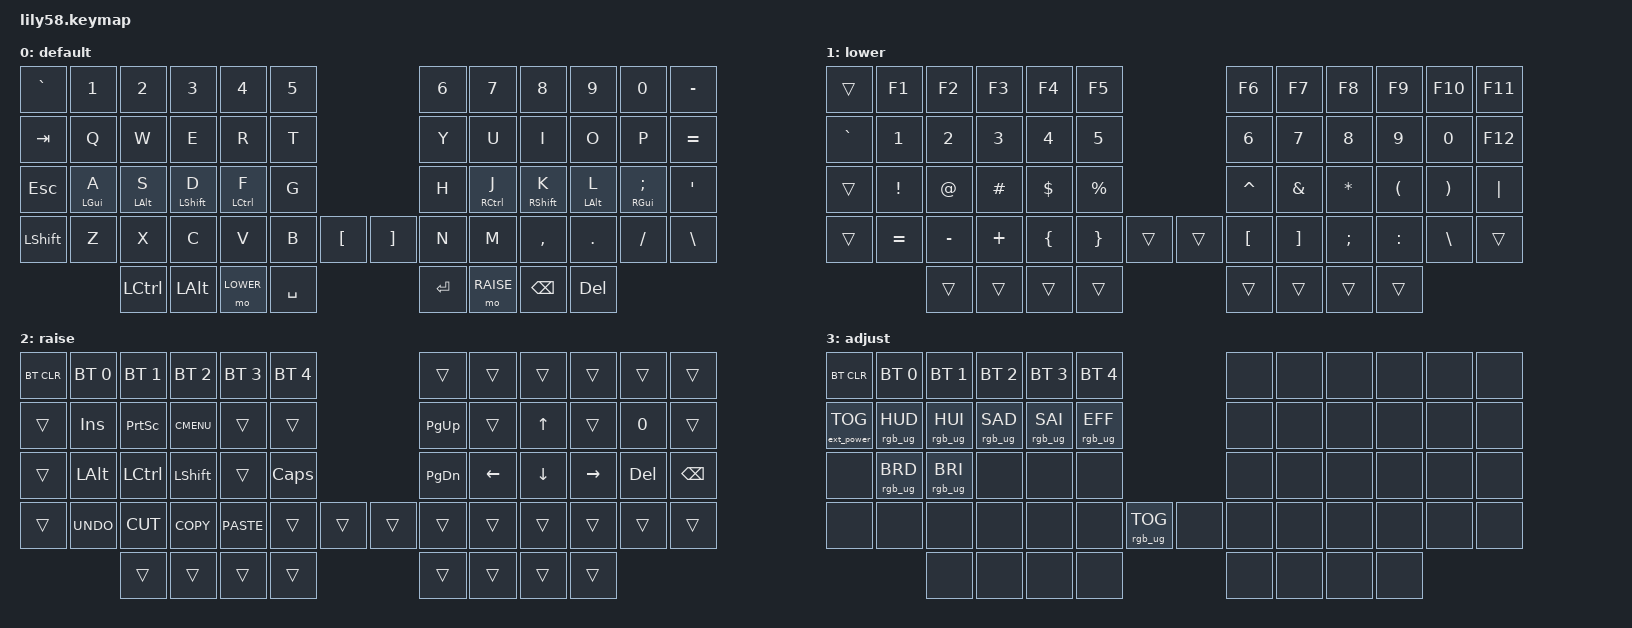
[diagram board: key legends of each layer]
/*
 * Copyright (c) 2020 The ZMK Contributors
 *
 * SPDX-License-Identifier: MIT
 */

#include <behaviors.dtsi>
#include <dt-bindings/zmk/keys.h>
#include <dt-bindings/zmk/bt.h>
#include <dt-bindings/zmk/ext_power.h>
#include <dt-bindings/zmk/rgb.h>

#define BASE 0
#define LOWER 1
#define RAISE 2
#define ADJUST 3

/ {
    // Activate ADJUST layer by pressing raise and lower
    conditional_layers {
        compatible = "zmk,conditional-layers";
        adjust_layer {
            if-layers = <LOWER RAISE>;
            then-layer = <ADJUST>;
        };
    };

    behaviors {
        hml: hml {
            compatible = "zmk,behavior-hold-tap";
            label = "HML";
            bindings = <&kp>, <&kp>;

            #binding-cells = <2>;
            tapping-term-ms = <150>;
            quick-tap-ms = <150>;
            require-prior-idle-ms = <50>;
            flavor = "balanced";
            hold-trigger-on-release;
            // Sofle uses specific key positions, omitting for Lily58 to accept all right-hand keys implicitly via balanced/typing habits or default
            // hold-trigger-key-positions = <28 27 26 25>; 
        };

        hmr: hmr {
            compatible = "zmk,behavior-hold-tap";
            label = "HMR";
            bindings = <&kp>, <&kp>;

            #binding-cells = <2>;
            tapping-term-ms = <150>;
            quick-tap-ms = <150>;
            require-prior-idle-ms = <50>;
            flavor = "balanced";
            hold-trigger-on-release;
            // hold-trigger-key-positions = <31 32 33 34>;
        };
    };

    keymap {
        compatible = "zmk,keymap";

        default_layer {
            display-name = "default";
// ------------------------------------------------------------------------------------------------------------
// |  GRAVE |  1  |  2  |  3   |  4   |  5   |                   |  6   |  7    |  8    |  9   |   0   |   -   |
// |  TAB   |  Q  |  W  |  E   |  R   |  T   |                   |  Y   |  U    |  I    |  O   |   P   |   =   |
// |  ESC   |  A  |  S  |  D   |  F   |  G   |                   |  H   |  J    |  K    |  L   |   ;   |   '   |
// | SHIFT  |  Z  |  X  |  C   |  V   |  B   |   [   |  |  ]     |  N   |  M    |  ,    |  .   |   /   |   \   |
//                     | CTRL | ALT  | LOWER|  SPACE |  | ENTER | RAISE| BSPC  | DEL   |
            bindings = <
&kp GRAVE   &kp N1           &kp N2           &kp N3             &kp N4         &kp N5                             &kp N6     &kp N7         &kp N8        &kp N9           &kp N0                    &kp MINUS
&kp TAB     &kp Q            &kp W            &kp E              &kp R          &kp T                              &kp Y      &kp U          &kp I         &kp O            &kp P                     &kp EQUAL
&kp ESC     &hml LGUI A      &hml LALT S      &hml LSHFT D       &hml LCTRL F   &kp G                              &kp H      &hmr RCTRL J   &hmr RSHFT K  &hmr LALT L      &hmr RGUI SEMI            &kp SQT
&kp LSHFT   &kp Z            &kp X            &kp C              &kp V          &kp B      &kp LBKT      &kp RBKT  &kp N      &kp M          &kp COMMA     &kp DOT          &kp FSLH                  &kp BSLH
                             &kp LCTRL        &kp LALT           &mo LOWER      &kp SPACE                          &kp RET    &mo RAISE      &kp BSPC      &kp DEL
            >;
        };

        lower_layer {
            display-name = "lower";
// ------------------------------------------------------------------------------------------------------------
// |       |  F1 |  F2 |  F3  |  F4  |  F5  |                   |  F6  |  F7   |  F8   |  F9  |  F10  |  F11  |
// |   `   |  1  |  2  |  3   |  4   |  5   |                   |  6   |  7    |  8    |  9   |   0   |  F12  |
// |       |  !  |  @  |  #   |  $   |  %   |                   |  ^   |  &    |  *    |  (   |   )   |   |   |
// |       |  =  |  -  |  +   |  {   |  }   |        |  |       |  [   |  ]    |  ;    |  :   |   \   |       |
//                     |      |      |      |        |  |       |      |       |       |
            bindings = <
&trans     &kp F1     &kp F2     &kp F3    &kp F4    &kp F5                        &kp F6    &kp F7    &kp F8     &kp F9     &kp F10   &kp F11
&kp GRAVE  &kp N1     &kp N2     &kp N3    &kp N4    &kp N5                        &kp N6    &kp N7    &kp N8     &kp N9     &kp N0    &kp F12
&trans     &kp EXCL   &kp AT     &kp HASH  &kp DLLR  &kp PRCNT                     &kp CARET &kp AMPS  &kp ASTRK  &kp LPAR   &kp RPAR  &kp PIPE
&trans     &kp EQUAL  &kp MINUS  &kp PLUS  &kp LBRC  &kp RBRC   &trans    &trans   &kp LBKT  &kp RBKT  &kp SEMI   &kp COLON  &kp BSLH  &trans
                      &trans     &trans    &trans    &trans                        &trans    &trans    &trans     &trans
            >;
        };

        raise_layer {
            display-name = "raise";
// ------------------------------------------------------------------------------------------------------------
// | BTCLR | BT1  | BT2  |  BT3  |  BT4  |  BT5 |                |      |      |       |      |       |       |
// |       | INS  | PSCR | GUI   |       |      |                | PGUP |      |   ^   |      |       |       |
// |       | ALT  | CTRL | SHIFT |       | CAPS |                | PGDN |   <- |   v   |  ->  |  DEL  | BKSPC |
// |       | UNDO | CUT  | COPY  | PASTE |      |      |  |      |      |      |       |      |       |       |
//                |      |       |       |      |      |  |      |      |      |       |      |
            bindings = <
&bt BT_CLR  &bt BT_SEL 0  &bt BT_SEL 1  &bt BT_SEL 2  &bt BT_SEL 3  &bt BT_SEL 4                 &trans          &trans        &trans     &trans   &trans    &trans
&trans      &kp INS       &kp PSCRN     &kp K_CMENU   &trans        &trans                       &kp PAGE_UP     &trans        &kp UP     &trans   &kp N0    &trans
&trans      &kp LALT      &kp LCTRL     &kp LSHFT     &trans        &kp CLCK                     &kp PAGE_DOWN   &kp LEFT      &kp DOWN   &kp RIGHT &kp DEL  &kp BSPC
&trans      &kp K_UNDO    &kp K_CUT     &kp K_COPY    &kp K_PASTE   &trans        &trans  &trans &trans          &trans        &trans     &trans   &trans    &trans
                          &trans        &trans        &trans        &trans                       &trans          &trans        &trans     &trans
            >;
        };

        adjust_layer {
            display-name = "adjust";
// ----------------------------------------------------------------------------------------------------------------------------
// | BTCLR  |  BT1    |  BT2    |   BT3   |   BT4   |   BT5   |                  |      |      |       |      |       |       |
// | EXTPWR | RGB_HUD | RGB_HUI | RGB_SAD | RGB_SAI | RGB_EFF |                  |      |      |       |      |       |       |
// |        | RGB_BRD | RGB_BRI |         |         |         |                  |      |      |       |      |       |       |
// |        |         |         |         |         |         | RGB_TOG | |      |      |      |       |      |       |       |
//                    |         |         |         |         |         | |      |      |      |       |      |
            bindings = <
&bt BT_CLR         &bt BT_SEL 0     &bt BT_SEL 1     &bt BT_SEL 2     &bt BT_SEL 3     &bt BT_SEL 4                             &none  &none  &none  &none  &none  &none
&ext_power EP_TOG  &rgb_ug RGB_HUD  &rgb_ug RGB_HUI  &rgb_ug RGB_SAD  &rgb_ug RGB_SAI  &rgb_ug RGB_EFF                          &none  &none  &none  &none  &none  &none
&none              &rgb_ug RGB_BRD  &rgb_ug RGB_BRI  &none            &none            &none                                    &none  &none  &none  &none  &none  &none
&none              &none            &none            &none            &none            &none            &rgb_ug RGB_TOG  &none  &none  &none  &none  &none  &none  &none
                                    &none            &none            &none            &none                                    &none  &none  &none  &none
            >;
        };
    };
};
